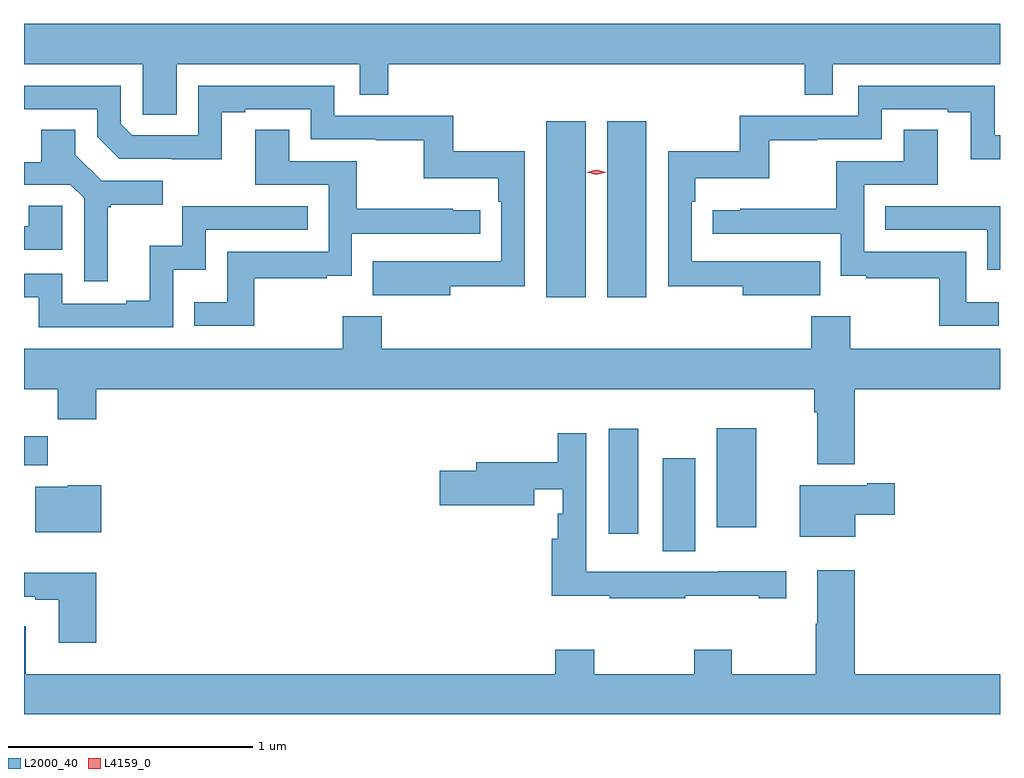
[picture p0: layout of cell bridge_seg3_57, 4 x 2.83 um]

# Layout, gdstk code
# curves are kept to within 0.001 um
import gdstk
lib = gdstk.Library(unit=1e-6, precision=1e-09)
def R(c, l, rs):  # rectangles x0, y0, x1, y1
    for r in rs: c.add(gdstk.rectangle(r[:2], r[2:], *l))
def P(c, l, *ps):  # polygons
    for p in ps: c.add(gdstk.Polygon(p, *l))
L2000_40 = (2000, 40)
L4159_0 = (4159, 0)

bridge_seg3_57 = lib.new_cell('bridge_seg3_57')
R(bridge_seg3_57, L2000_40, [(1071.344,680.272,1071.478,680.653), (1071.122,680.343,1071.244,680.773), (1071.566,680.37,1071.727,680.776), (1068.726,680.624,1068.824,680.743), (1070.867,681.312,1071.028,682.033), (1071.116,681.312,1071.277,682.033)])
P(bridge_seg3_57, L2000_40, [(1069.351,682.268),(1070.103,682.268),(1070.103,682.141),(1070.219,682.141),(1070.219,682.268),(1071.925,682.268),(1071.925,682.141),(1072.041,682.141),(1072.041,682.268),(1072.726,682.268),(1072.726,682.432),(1068.726,682.432),(1068.726,682.268),(1069.212,682.268),(1069.212,682.06),(1069.351,682.06)],
  [(1070.473,681.358),(1070.778,681.358),(1070.778,681.91),(1070.485,681.91),(1070.485,682.056),(1069.998,682.056),(1069.998,682.179),(1069.44,682.179),(1069.44,681.975),(1069.17,681.975),(1069.122,682.023),(1069.122,682.179),(1068.726,682.179),(1068.726,682.083),(1069.026,682.083),(1069.026,681.969),(1069.116,681.879),(1069.537,681.878),(1069.537,682.071),(1069.633,682.071),(1069.633,682.083),(1069.902,682.083),(1069.902,681.96),(1070.167,681.96),(1070.167,681.955),(1070.364,681.955),(1070.364,681.8),(1070.669,681.8),(1070.669,681.704),(1070.682,681.704),(1070.682,681.459),(1070.155,681.46),(1070.155,681.32),(1070.473,681.32)],
  [(1071.989,681.46),(1071.775,681.46),(1071.775,681.459),(1071.462,681.459),(1071.462,681.704),(1071.476,681.704),(1071.476,681.8),(1071.781,681.8),(1071.781,681.955),(1071.977,681.955),(1071.977,681.96),(1072.242,681.96),(1072.242,682.083),(1072.511,682.083),(1072.511,682.071),(1072.607,682.071),(1072.607,681.878),(1072.726,681.878),(1072.726,681.975),(1072.704,681.975),(1072.704,682.179),(1072.146,682.179),(1072.146,682.056),(1071.66,682.056),(1071.66,681.91),(1071.366,681.91),(1071.366,681.358),(1071.671,681.358),(1071.671,681.32),(1071.989,681.32)],
  [(1069.669,681.39),(1069.967,681.39),(1069.967,681.401),(1070.07,681.401),(1070.07,681.573),(1070.596,681.573),(1070.596,681.669),(1070.483,681.669),(1070.483,681.674),(1070.09,681.674),(1070.09,681.87),(1069.813,681.87),(1069.813,681.998),(1069.673,681.998),(1069.673,681.774),(1069.974,681.774),(1069.974,681.498),(1069.558,681.498),(1069.558,681.292),(1069.423,681.292),(1069.423,681.195),(1069.669,681.195)],
  [(1069.069,681.681),(1069.081,681.681),(1069.081,681.692),(1069.294,681.692),(1069.294,681.789),(1069.044,681.789),(1068.937,681.896),(1068.937,681.998),(1068.797,681.998),(1068.797,681.866),(1068.726,681.866),(1068.726,681.774),(1068.915,681.774),(1068.972,681.717),(1068.972,681.378),(1069.069,681.378)],
  [(1072.721,681.292),(1072.587,681.292),(1072.587,681.498),(1072.17,681.498),(1072.17,681.774),(1072.471,681.774),(1072.471,681.998),(1072.331,681.998),(1072.331,681.87),(1072.054,681.87),(1072.054,681.674),(1071.661,681.674),(1071.661,681.669),(1071.549,681.669),(1071.549,681.573),(1072.074,681.573),(1072.074,681.401),(1072.177,681.401),(1072.177,681.39),(1072.476,681.39),(1072.476,681.195),(1072.721,681.195)],
  [(1068.882,681.687),(1068.745,681.687),(1068.745,681.603),(1068.726,681.603),(1068.726,681.507),(1068.882,681.507)],
  [(1072.726,681.684),(1072.255,681.684),(1072.255,681.588),(1072.674,681.588),(1072.674,681.425),(1072.726,681.425)],
  [(1069.338,681.425),(1069.47,681.425),(1069.47,681.588),(1069.889,681.588),(1069.889,681.684),(1069.374,681.684),(1069.374,681.523),(1069.241,681.523),(1069.241,681.298),(1069.145,681.298),(1069.145,681.285),(1068.882,681.285),(1068.882,681.408),(1068.726,681.408),(1068.726,681.312),(1068.786,681.312),(1068.786,681.189),(1069.338,681.189)],
  [(1072.13,680.936),(1072.726,680.936),(1072.726,681.1),(1072.113,681.1),(1072.113,681.235),(1071.953,681.235),(1071.953,681.1),(1070.192,681.1),(1070.192,681.235),(1070.032,681.235),(1070.032,681.1),(1068.726,681.1),(1068.726,680.936),(1068.865,680.936),(1068.865,680.812),(1069.022,680.812),(1069.022,680.936),(1071.965,680.936),(1071.965,680.84),(1071.977,680.84),(1071.977,680.627),(1072.13,680.627)],
  [(1071.437,680.089),(1071.737,680.089),(1071.737,680.079),(1071.85,680.079),(1071.85,680.189),(1071.574,680.189),(1071.574,680.187),(1071.24,680.187),(1071.24,680.188),(1071.03,680.188),(1071.03,680.755),(1070.914,680.755),(1070.914,680.635),(1070.579,680.635),(1070.579,680.601),(1070.43,680.601),(1070.43,680.459),(1070.818,680.459),(1070.818,680.525),(1070.934,680.525),(1070.934,680.424),(1070.914,680.424),(1070.914,680.323),(1070.888,680.323),(1070.888,680.089),(1071.127,680.089),(1071.127,680.079),(1071.437,680.079)],
  [(1072.132,680.42),(1072.294,680.42),(1072.294,680.55),(1072.181,680.55),(1072.181,680.542),(1071.905,680.542),(1071.905,680.33),(1072.132,680.33)],
  [(1069.042,680.542),(1068.906,680.542),(1068.906,680.536),(1068.773,680.536),(1068.773,680.348),(1069.042,680.348)],
  [(1072.726,679.768),(1072.13,679.768),(1072.13,680.194),(1071.977,680.194),(1071.977,679.973),(1071.97,679.973),(1071.97,679.768),(1071.627,679.768),(1071.627,679.867),(1071.472,679.867),(1071.472,679.768),(1071.063,679.768),(1071.063,679.867),(1070.903,679.867),(1070.903,679.768),(1068.733,679.768),(1068.733,679.963),(1068.726,679.963),(1068.726,679.604),(1072.726,679.604)],
  [(1069.022,680.182),(1068.726,680.182),(1068.726,680.085),(1068.773,680.085),(1068.773,680.073),(1068.869,680.073),(1068.869,679.896),(1069.022,679.896)])
P(bridge_seg3_57, L4159_0, [(1071.072,681.814),(1071.032,681.824),(1071.032,681.824),(1071.032,681.824),(1071.072,681.834),(1071.112,681.824),(1071.112,681.824),(1071.112,681.824)])

lib.write_gds('bridge_seg3_57.gds')
